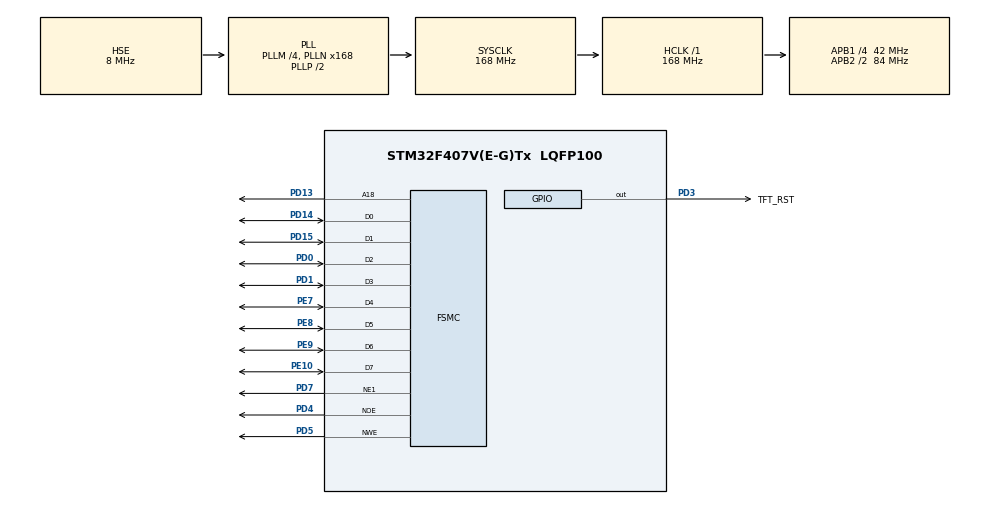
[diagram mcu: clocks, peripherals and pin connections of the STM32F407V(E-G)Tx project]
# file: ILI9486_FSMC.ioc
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FSMC.AddressSetupTime1=6
FSMC.BusTurnAroundDuration1=0
FSMC.DataSetupTime1=6
Mcu.Family=STM32F4
Mcu.Name=STM32F407V(E-G)Tx
Mcu.Package=LQFP100
NVIC.PriorityGroup=NVIC_PRIORITYGROUP_0
PA13.Mode=Serial_Wire
PA13.Signal=SYS_JTMS-SWDIO
PA14.Mode=Serial_Wire
PA14.Signal=SYS_JTCK-SWCLK
PD0.Mode=8b-d1
PD0.Signal=FSMC_D2
PD1.Mode=8b-d1
PD1.Signal=FSMC_D3
PD13.Mode=A18_1
PD13.Signal=FSMC_A18
PD14.Mode=8b-d1
PD14.Signal=FSMC_D0
PD15.Mode=8b-d1
PD15.Signal=FSMC_D1
PD3.GPIO_Label=TFT_RST
PD3.Signal=GPIO_Output
PD4.Mode=Lcd1
PD4.Signal=FSMC_NOE
PD5.Mode=Lcd1
PD5.Signal=FSMC_NWE
PD7.Mode=NorPsramChipSelect1_1
PD7.Signal=FSMC_NE1
PE10.Mode=8b-d1
PE10.Signal=FSMC_D7
PE7.Mode=8b-d1
PE7.Signal=FSMC_D4
PE8.Mode=8b-d1
PE8.Signal=FSMC_D5
PE9.Mode=8b-d1
PE9.Signal=FSMC_D6
PH0-OSC_IN.Mode=HSE-External-Oscillator
PH0-OSC_IN.Signal=RCC_OSC_IN
PH1-OSC_OUT.Mode=HSE-External-Oscillator
PH1-OSC_OUT.Signal=RCC_OSC_OUT
ProjectManager.HeapSize=0x200
ProjectManager.StackSize=0x400
ProjectManager.TargetToolchain=STM32CubeIDE
RCC.48MHZClocksFreq_Value=48000000
RCC.AHBFreq_Value=168000000
RCC.APB1CLKDivider=RCC_HCLK_DIV4
RCC.APB1Freq_Value=42000000
RCC.APB1TimFreq_Value=84000000
RCC.APB2CLKDivider=RCC_HCLK_DIV2
RCC.APB2Freq_Value=84000000
RCC.APB2TimFreq_Value=168000000
RCC.CortexFreq_Value=168000000
RCC.HCLKFreq_Value=168000000
RCC.HSE_VALUE=8000000
RCC.HSI_VALUE=16000000
RCC.PLLM=4
RCC.PLLN=168
RCC.PLLQ=7
RCC.PLLSourceVirtual=RCC_PLLSOURCE_HSE
RCC.SYSCLKFreq_VALUE=168000000
RCC.SYSCLKSource=RCC_SYSCLKSOURCE_PLLCLK
RCC.VCOOutputFreq_Value=336000000
board=STM32F407G-DISC1

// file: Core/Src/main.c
/* USER CODE BEGIN Header */
/**
  ******************************************************************************
  * @file           : main.c
  * @brief          : Main program body
  ******************************************************************************
  * @attention
  *
  * <h2><center>&copy; Copyright (c) 2020 STMicroelectronics.
  * All rights reserved.</center></h2>
  *
  * This software component is licensed by ST under Ultimate Liberty license
  * SLA0044, the "License"; You may not use this file except in compliance with
  * the License. You may obtain a copy of the License at:
  *                             www.st.com/SLA0044
  *
  ******************************************************************************
  */
/* USER CODE END Header */
#include "main.h"

SRAM_HandleTypeDef hsram1;

void SystemClock_Config(void);
static void MX_GPIO_Init(void);
static void MX_FSMC_Init(void);

/* USER CODE BEGIN 0 */
typedef struct
{
    uint16_t width;
    uint16_t height;
    uint16_t id;
    uint8_t  dir;
    uint16_t  wramcmd;
    uint16_t  rramcmd;
    uint16_t  setxcmd;
    uint16_t  setycmd;
}_lcd_dev;

_lcd_dev lcddev;

#define LCD_W 320
#define LCD_H 480

#define WHITE       0xFFFF
#define BLACK       0x0000
#define BLUE        0x001F
#define BRED        0XF81F
#define GRED        0XFFE0
#define GBLUE       0X07FF
#define RED         0xF800
#define MAGENTA     0xF81F
#define GREEN       0x07E0
#define CYAN        0x7FFF
#define YELLOW      0xFFE0
#define BROWN           0XBC40
#define BRRED           0XFC07
#define GRAY            0X8430

#define DARKBLUE         0X01CF
#define LIGHTBLUE        0X7D7C
#define GRAYBLUE         0X5458

#define LIGHTGREEN      0X841F
#define LIGHTGRAY     0XEF5B
#define LGRAY                   0XC618

#define LGRAYBLUE       0XA651
#define LBBLUE          0X2B12

void LCD_Init(void);
void LCD_write(uint16_t VAL);
void LCD_Clear(uint16_t Color);
void LCD_SetWindows(uint16_t xStar, uint16_t yStar,uint16_t xEnd,uint16_t yEnd);
void LCD_WR_REG(uint8_t data);
void LCD_WR_DATA(uint8_t data);
void LCD_WriteRAM_Prepare(void);
void Lcd_WriteData_16Bit(uint16_t Data);
void LCD_direction(uint8_t direction );
void LCD_printImage(uint16_t x, uint16_t y, uint16_t w, uint16_t h, uint16_t *data, uint32_t size);

#define cmdReg *(__IO uint8_t *)(0x60000000)
#define dataReg *(__IO uint8_t *)(0x60040000)

#define FSMC_LCD_CMD                   ((uint32_t *)0x60000000)
#define FSMC_LCD_DATA                  ((uint32_t *)0x60020000)

void LCD_WR_REG(uint8_t data)
{
	cmdReg = data;
}

void LCD_WR_DATA(uint8_t data)
{
	dataReg = data;
}

void LCD_WriteReg(uint8_t LCD_Reg, uint8_t LCD_RegValue)
{
    LCD_WR_REG(LCD_Reg);
    LCD_WR_DATA(LCD_RegValue);
}

void Lcd_WriteData_16Bit(uint16_t Data)
{
	LCD_WR_DATA(Data >> 8);
	LCD_WR_DATA(Data & 0xFF);
}

void LCD_Clear(uint16_t Color)
{
    unsigned int i;//,m;
    LCD_SetWindows(0,0,lcddev.width-1,lcddev.height-1);
    for(i=0;i<lcddev.height*lcddev.width;i++)
    {
        Lcd_WriteData_16Bit(Color);
    }
}

void LCD_Init(void)
{
	LCD_WR_REG(0X01);
	HAL_Delay(10);
    LCD_WR_REG(0XF1);
    LCD_WR_DATA(0x36);
    LCD_WR_DATA(0x04);
    LCD_WR_DATA(0x00);
    LCD_WR_DATA(0x3C);
    LCD_WR_DATA(0X0F);
    LCD_WR_DATA(0x8F);
    LCD_WR_REG(0XF2);
    LCD_WR_DATA(0x18);
    LCD_WR_DATA(0xA3);
    LCD_WR_DATA(0x12);
    LCD_WR_DATA(0x02);
    LCD_WR_DATA(0XB2);
    LCD_WR_DATA(0x12);
    LCD_WR_DATA(0xFF);
    LCD_WR_DATA(0x10);
    LCD_WR_DATA(0x00);
    LCD_WR_REG(0XF8);
    LCD_WR_DATA(0x21);
    LCD_WR_DATA(0x04);
    LCD_WR_REG(0XF9);
    LCD_WR_DATA(0x00);
    LCD_WR_DATA(0x08);
    LCD_WR_REG(0x36);
    LCD_WR_DATA(0x08);
    LCD_WR_REG(0xB4);
    LCD_WR_DATA(0x00);
    LCD_WR_REG(0xC1);
    LCD_WR_DATA(0x41);
    LCD_WR_REG(0xC5);
    LCD_WR_DATA(0x00);
    LCD_WR_DATA(0x91);
    LCD_WR_DATA(0x80);
    LCD_WR_DATA(0x00);
    LCD_WR_REG(0xE0);
    LCD_WR_DATA(0x0F);
    LCD_WR_DATA(0x1F);
    LCD_WR_DATA(0x1C);
    LCD_WR_DATA(0x0C);
    LCD_WR_DATA(0x0F);
    LCD_WR_DATA(0x08);
    LCD_WR_DATA(0x48);
    LCD_WR_DATA(0x98);
    LCD_WR_DATA(0x37);
    LCD_WR_DATA(0x0A);
    LCD_WR_DATA(0x13);
    LCD_WR_DATA(0x04);
    LCD_WR_DATA(0x11);
    LCD_WR_DATA(0x0D);
    LCD_WR_DATA(0x00);
    LCD_WR_REG(0xE1);
    LCD_WR_DATA(0x0F);
    LCD_WR_DATA(0x32);
    LCD_WR_DATA(0x2E);
    LCD_WR_DATA(0x0B);
    LCD_WR_DATA(0x0D);
    LCD_WR_DATA(0x05);
    LCD_WR_DATA(0x47);
    LCD_WR_DATA(0x75);
    LCD_WR_DATA(0x37);
    LCD_WR_DATA(0x06);
    LCD_WR_DATA(0x10);
    LCD_WR_DATA(0x03);
    LCD_WR_DATA(0x24);
    LCD_WR_DATA(0x20);
    LCD_WR_DATA(0x00);
    LCD_WR_REG(0x3A);
    LCD_WR_DATA(0x55);
    LCD_WR_REG(0x11);
    LCD_WR_REG(0x36);
    LCD_WR_DATA(0x28);
    HAL_Delay(120);
    LCD_WR_REG(0x29);

    LCD_direction(1);
}

void LCD_WriteRAM_Prepare(void)
{
    LCD_WR_REG(lcddev.wramcmd);
}

void LCD_SetWindows(uint16_t xStar, uint16_t yStar,uint16_t xEnd,uint16_t yEnd)
{
    LCD_WR_REG(lcddev.setxcmd);
    LCD_WR_DATA(xStar>>8);
    LCD_WR_DATA(0x00FF&xStar);
    LCD_WR_DATA(xEnd>>8);
    LCD_WR_DATA(0x00FF&xEnd);

    LCD_WR_REG(lcddev.setycmd);
    LCD_WR_DATA(yStar>>8);
    LCD_WR_DATA(0x00FF&yStar);
    LCD_WR_DATA(yEnd>>8);
    LCD_WR_DATA(0x00FF&yEnd);

    LCD_WriteRAM_Prepare();
}

void LCD_direction(uint8_t direction)
{
    lcddev.setxcmd=0x2A;
    lcddev.setycmd=0x2B;
    lcddev.wramcmd=0x2C;
    lcddev.rramcmd=0x2E;
    switch(direction){
        case 0:
            lcddev.width=LCD_W;
            lcddev.height=LCD_H;
            LCD_WriteReg(0x36,(1<<6)|(1<<3));//0 degree MY=0,MX=0,MV=0,ML=0,BGR=1,MH=0
        break;
        case 1:
            lcddev.width=LCD_H;
            lcddev.height=LCD_W;
            LCD_WriteReg(0x36,(1<<3)|(1<<4)|(1<<5));//90 degree MY=0,MX=1,MV=1,ML=1,BGR=1,MH=0
        break;
        case 2:
            lcddev.width=LCD_W;
            lcddev.height=LCD_H;
            LCD_WriteReg(0x36,(1<<3)|(1<<7));//180 degree MY=1,MX=1,MV=0,ML=0,BGR=1,MH=0
        break;
        case 3:
            lcddev.width=LCD_H;
            lcddev.height=LCD_W;
            LCD_WriteReg(0x36,(1<<3)|(1<<5)|(1<<6)|(1<<7));//270 degree MY=1,MX=0,MV=1,ML=0,BGR=1,MH=0
        break;
        default:break;
    }
}

void LCD_Fill(uint16_t sx, uint16_t sy, uint16_t ex, uint16_t ey, uint16_t color)
{
    uint16_t i,j;
    uint16_t width=ex-sx+1;
    uint16_t height=ey-sy+1;
    LCD_SetWindows(sx,sy,ex,ey);
    for(i=0;i<height;i++)
    {
        for(j=0;j<width;j++)
        Lcd_WriteData_16Bit(color); //写入数�?�
    }
   // LCD_SetWindows(0,0,lcddev.width-1,lcddev.height-1);
}

/* USER CODE END 0 */

int main(void)
{

  /* MCU Configuration--------------------------------------------------------*/

  /* Reset of all peripherals, Initializes the Flash interface and the Systick. */
  HAL_Init();

  /* Configure the system clock */
  SystemClock_Config();

  /* Initialize all configured peripherals */
  MX_GPIO_Init();
  MX_FSMC_Init();
  /* USER CODE BEGIN 2 */
  HAL_GPIO_WritePin(TFT_RST_GPIO_Port, TFT_RST_Pin, 0);
  HAL_Delay(10);
  HAL_GPIO_WritePin(TFT_RST_GPIO_Port, TFT_RST_Pin, 1);
  LCD_Init();
  LCD_Clear(RED);
  LCD_Fill(50,50,200,200, BLUE);

  /* USER CODE END 2 */

  /* Infinite loop */
  while (1)
  {

    /* USER CODE BEGIN 3 */
	/*LCD_Clear(WHITE);
	LCD_Clear(BLACK);
	LCD_Clear(BLUE);
	LCD_Clear(BRED);
	LCD_Clear(GRED);
	LCD_Clear(GBLUE);
	LCD_Clear(RED);
	LCD_Clear(MAGENTA);
	LCD_Clear(GREEN);
	LCD_Clear(CYAN);
	LCD_Clear(YELLOW);
	LCD_Clear(BROWN);
	LCD_Clear(BRRED);
	LCD_Clear(GRAY);
	LCD_Clear(DARKBLUE);
	LCD_Clear(LIGHTBLUE);
	LCD_Clear(GRAYBLUE);
	LCD_Clear(LIGHTGREEN);
	LCD_Clear(LIGHTGRAY);
	LCD_Clear(LGRAY);
	LCD_Clear(LGRAYBLUE);
	LCD_Clear(LBBLUE);*/
  }
  /* USER CODE END 3 */
}

void SystemClock_Config(void)
{
  RCC_OscInitTypeDef RCC_OscInitStruct = {0};
  RCC_ClkInitTypeDef RCC_ClkInitStruct = {0};

  /** Configure the main internal regulator output voltage
  */
  __HAL_RCC_PWR_CLK_ENABLE();
  __HAL_PWR_VOLTAGESCALING_CONFIG(PWR_REGULATOR_VOLTAGE_SCALE1);
  /** Initializes the RCC Oscillators according to the specified parameters
  * in the RCC_OscInitTypeDef structure.
  */
  RCC_OscInitStruct.OscillatorType = RCC_OSCILLATORTYPE_HSE;
  RCC_OscInitStruct.HSEState = RCC_HSE_ON;
  RCC_OscInitStruct.PLL.PLLState = RCC_PLL_ON;
  RCC_OscInitStruct.PLL.PLLSource = RCC_PLLSOURCE_HSE;
  RCC_OscInitStruct.PLL.PLLM = 4;
  RCC_OscInitStruct.PLL.PLLN = 168;
  RCC_OscInitStruct.PLL.PLLP = RCC_PLLP_DIV2;
  RCC_OscInitStruct.PLL.PLLQ = 7;
  if (HAL_RCC_OscConfig(&RCC_OscInitStruct) != HAL_OK)
  {
    Error_Handler();
  }
  /** Initializes the CPU, AHB and APB buses clocks
  */
  RCC_ClkInitStruct.ClockType = RCC_CLOCKTYPE_HCLK|RCC_CLOCKTYPE_SYSCLK
                              |RCC_CLOCKTYPE_PCLK1|RCC_CLOCKTYPE_PCLK2;
  RCC_ClkInitStruct.SYSCLKSource = RCC_SYSCLKSOURCE_PLLCLK;
  RCC_ClkInitStruct.AHBCLKDivider = RCC_SYSCLK_DIV1;
  RCC_ClkInitStruct.APB1CLKDivider = RCC_HCLK_DIV4;
  RCC_ClkInitStruct.APB2CLKDivider = RCC_HCLK_DIV2;

  if (HAL_RCC_ClockConfig(&RCC_ClkInitStruct, FLASH_LATENCY_5) != HAL_OK)
  {
    Error_Handler();
  }
}

static void MX_GPIO_Init(void)
{
  GPIO_InitTypeDef GPIO_InitStruct = {0};

  /* GPIO Ports Clock Enable */
  __HAL_RCC_GPIOH_CLK_ENABLE();
  __HAL_RCC_GPIOE_CLK_ENABLE();
  __HAL_RCC_GPIOD_CLK_ENABLE();
  __HAL_RCC_GPIOA_CLK_ENABLE();

  /*Configure GPIO pin Output Level */
  HAL_GPIO_WritePin(TFT_RST_GPIO_Port, TFT_RST_Pin, GPIO_PIN_RESET);

  /*Configure GPIO pin : TFT_RST_Pin */
  GPIO_InitStruct.Pin = TFT_RST_Pin;
  GPIO_InitStruct.Mode = GPIO_MODE_OUTPUT_PP;
  GPIO_InitStruct.Pull = GPIO_NOPULL;
  GPIO_InitStruct.Speed = GPIO_SPEED_FREQ_LOW;
  HAL_GPIO_Init(TFT_RST_GPIO_Port, &GPIO_InitStruct);

}

/* FSMC initialization function */
static void MX_FSMC_Init(void)
{

  FSMC_NORSRAM_TimingTypeDef Timing = {0};

  /** Perform the SRAM1 memory initialization sequence
  */
  hsram1.Instance = FSMC_NORSRAM_DEVICE;
  hsram1.Extended = FSMC_NORSRAM_EXTENDED_DEVICE;
  /* hsram1.Init */
  hsram1.Init.NSBank = FSMC_NORSRAM_BANK1;
  hsram1.Init.DataAddressMux = FSMC_DATA_ADDRESS_MUX_DISABLE;
  hsram1.Init.MemoryType = FSMC_MEMORY_TYPE_SRAM;
  hsram1.Init.MemoryDataWidth = FSMC_NORSRAM_MEM_BUS_WIDTH_8;
  hsram1.Init.BurstAccessMode = FSMC_BURST_ACCESS_MODE_DISABLE;
  hsram1.Init.WaitSignalPolarity = FSMC_WAIT_SIGNAL_POLARITY_LOW;
  hsram1.Init.WrapMode = FSMC_WRAP_MODE_DISABLE;
  hsram1.Init.WaitSignalActive = FSMC_WAIT_TIMING_BEFORE_WS;
  hsram1.Init.WriteOperation = FSMC_WRITE_OPERATION_ENABLE;
  hsram1.Init.WaitSignal = FSMC_WAIT_SIGNAL_DISABLE;
  hsram1.Init.ExtendedMode = FSMC_EXTENDED_MODE_DISABLE;
  hsram1.Init.AsynchronousWait = FSMC_ASYNCHRONOUS_WAIT_DISABLE;
  hsram1.Init.WriteBurst = FSMC_WRITE_BURST_DISABLE;
  hsram1.Init.PageSize = FSMC_PAGE_SIZE_NONE;
  /* Timing */
  Timing.AddressSetupTime = 6;
  Timing.AddressHoldTime = 0;
  Timing.DataSetupTime = 6;
  Timing.BusTurnAroundDuration = 0;
  Timing.CLKDivision = 0;
  Timing.DataLatency = 0;
  Timing.AccessMode = FSMC_ACCESS_MODE_A;
  /* ExtTiming */

  if (HAL_SRAM_Init(&hsram1, &Timing, NULL) != HAL_OK)
  {
    Error_Handler( );
  }

}

void Error_Handler(void)
{
}

/************************ (C) COPYRIGHT STMicroelectronics *****END OF FILE****/
